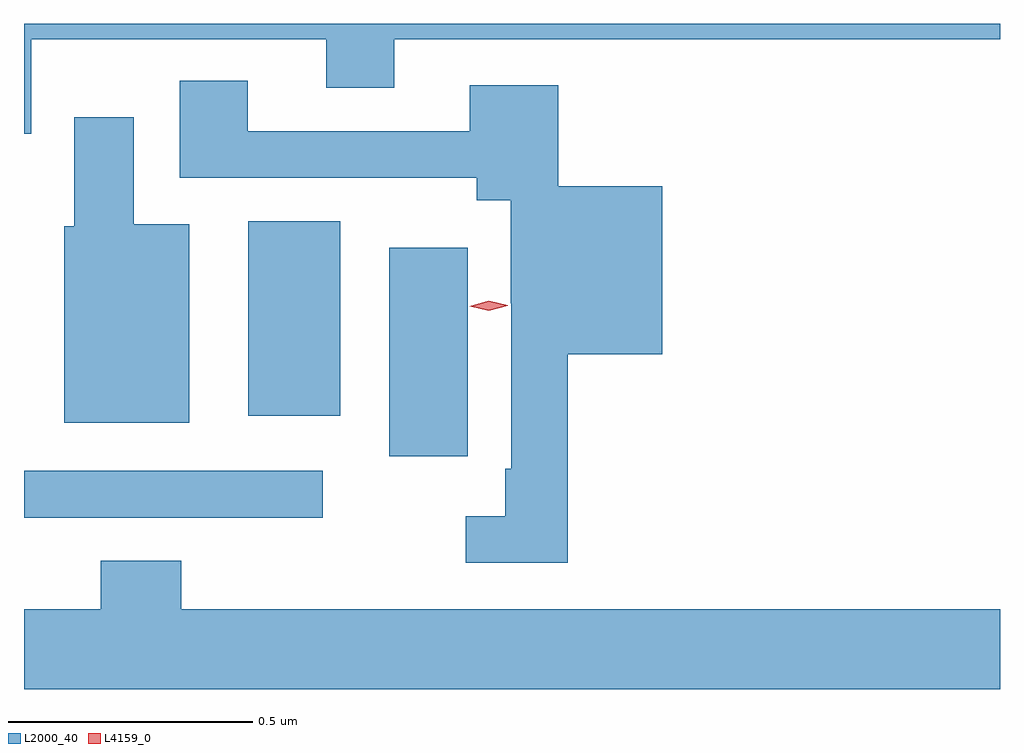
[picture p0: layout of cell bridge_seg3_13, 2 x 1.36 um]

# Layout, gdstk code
import gdstk
lib = gdstk.Library(unit=1e-6, precision=1e-09)
def R(c, l, rs):  # rectangles x0, y0, x1, y1
    for r in rs: c.add(gdstk.rectangle(r[:2], r[2:], *l))
def P(c, l, *ps):  # polygons
    for p in ps: c.add(gdstk.Polygon(p, *l))
L2000_40 = (2000, 40)
L4159_0 = (4159, 0)

bridge_seg3_13 = lib.new_cell('bridge_seg3_13')
R(bridge_seg3_13, L2000_40, [(747.586,747.888,748.198,747.984), (748.334,748.014,748.495,748.441), (748.046,748.097,748.234,748.495)])
P(bridge_seg3_13, L2000_40, [(747.601,748.868),(748.205,748.868),(748.205,748.769),(748.345,748.769),(748.345,748.868),(749.586,748.868),(749.586,748.9),(747.586,748.9),(747.586,748.674),(747.601,748.674)],
  [(748.7,748.223),(748.894,748.223),(748.894,748.567),(748.681,748.567),(748.681,748.774),(748.499,748.774),(748.499,748.68),(748.045,748.68),(748.045,748.783),(747.905,748.783),(747.905,748.584),(748.514,748.584),(748.514,748.538),(748.583,748.538),(748.583,748.327),(748.584,748.327),(748.584,747.988),(748.572,747.988),(748.572,747.891),(748.491,747.891),(748.491,747.795),(748.7,747.795)],
  [(747.925,748.489),(747.811,748.489),(747.811,748.708),(747.689,748.708),(747.689,748.485),(747.668,748.485),(747.668,748.082),(747.925,748.082)],
  [(747.743,747.799),(747.743,747.7),(747.586,747.7),(747.586,747.536),(749.586,747.536),(749.586,747.7),(747.908,747.7),(747.908,747.799)])
P(bridge_seg3_13, L4159_0, [(748.538,748.312),(748.499,748.321),(748.498,748.321),(748.499,748.321),(748.538,748.332),(748.577,748.323),(748.577,748.322),(748.577,748.322)])

lib.write_gds('bridge_seg3_13.gds')
